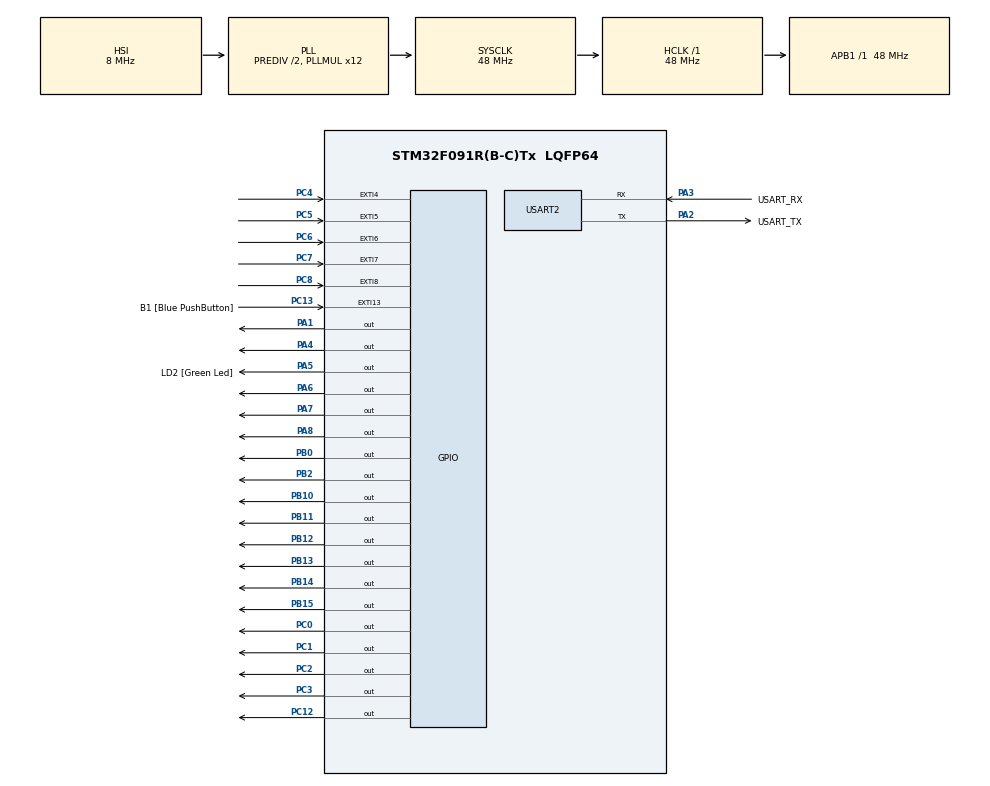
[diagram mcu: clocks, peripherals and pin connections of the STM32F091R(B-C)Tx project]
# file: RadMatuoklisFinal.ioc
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Mcu.Family=STM32F0
Mcu.Name=STM32F091R(B-C)Tx
Mcu.Package=LQFP64
NVIC.EXTI4_15_IRQn=true\:0\:0\:false\:false\:true\:true\:true\:true
NVIC.TIM14_IRQn=true\:0\:0\:false\:false\:true\:true\:true\:true
NVIC.TIM16_IRQn=true\:0\:0\:false\:false\:true\:true\:true\:true
NVIC.TIM17_IRQn=true\:0\:0\:false\:false\:true\:true\:true\:true
PA1.Signal=GPIO_Output
PA13.GPIO_Label=TMS
PA13.Mode=Serial_Wire
PA13.Signal=SYS_SWDIO
PA14.GPIO_Label=TCK
PA14.Mode=Serial_Wire
PA14.Signal=SYS_SWCLK
PA2.GPIO_Label=USART_TX
PA2.GPIO_Mode=GPIO_MODE_AF_PP
PA2.GPIO_PuPd=GPIO_NOPULL
PA2.GPIO_Speed=GPIO_SPEED_FREQ_LOW
PA2.Mode=Asynchronous
PA2.Signal=USART2_TX
PA3.GPIO_Label=USART_RX
PA3.GPIO_Mode=GPIO_MODE_AF_PP
PA3.GPIO_PuPd=GPIO_NOPULL
PA3.GPIO_Speed=GPIO_SPEED_FREQ_LOW
PA3.Mode=Asynchronous
PA3.Signal=USART2_RX
PA4.Signal=GPIO_Output
PA5.GPIO_Label=LD2 [Green Led]
PA5.GPIO_Mode=GPIO_MODE_OUTPUT_PP
PA5.GPIO_PuPd=GPIO_NOPULL
PA5.GPIO_Speed=GPIO_SPEED_FREQ_LOW
PA5.Signal=GPIO_Output
PA6.Signal=GPIO_Output
PA7.Signal=GPIO_Output
PA8.Signal=GPIO_Output
PB0.Signal=GPIO_Output
PB10.Signal=GPIO_Output
PB11.Signal=GPIO_Output
PB12.Signal=GPIO_Output
PB13.Signal=GPIO_Output
PB14.Signal=GPIO_Output
PB15.Signal=GPIO_Output
PB2.Signal=GPIO_Output
PC0.Signal=GPIO_Output
PC1.Signal=GPIO_Output
PC12.Signal=GPIO_Output
PC13.GPIO_Label=B1 [Blue PushButton]
PC13.GPIO_ModeDefaultEXTI=GPIO_MODE_IT_FALLING
PC13.Signal=GPXTI13
PC14OSC32_IN.Mode=LSE-External-Oscillator
PC14OSC32_IN.Signal=RCC_OSC32_IN
PC15OSC32_OUT.Mode=LSE-External-Oscillator
PC15OSC32_OUT.Signal=RCC_OSC32_OUT
PC2.Signal=GPIO_Output
PC3.Signal=GPIO_Output
PC4.GPIO_PuPd=GPIO_PULLDOWN
PC4.Signal=GPXTI4
PC5.GPIO_PuPd=GPIO_PULLDOWN
PC5.Signal=GPXTI5
PC6.GPIO_PuPd=GPIO_PULLDOWN
PC6.Signal=GPXTI6
PC7.GPIO_PuPd=GPIO_PULLDOWN
PC7.Signal=GPXTI7
PC8.GPIO_ModeDefaultEXTI=GPIO_MODE_IT_FALLING
PC8.GPIO_PuPd=GPIO_PULLUP
PC8.Signal=GPXTI8
PF0-OSC_IN.Mode=HSE-External-Clock-Source
PF0-OSC_IN.Signal=RCC_OSC_IN
PF1-OSC_OUT.Signal=RCC_OSC_OUT
ProjectManager.HeapSize=0x200
ProjectManager.StackSize=0x400
ProjectManager.TargetToolchain=STM32CubeIDE
RCC.AHBFreq_Value=48000000
RCC.APB1Freq_Value=48000000
RCC.APB1TimFreq_Value=48000000
RCC.FLatency-AdvancedSettings=FLASH_LATENCY_1
RCC.HCLKFreq_Value=48000000
RCC.PLLDivider=RCC_PREDIV_DIV2
RCC.PLLMUL=RCC_PLL_MUL12
RCC.PREFETCH_ENABLE-AdvancedSettings=1
RCC.SYSCLKFreq_VALUE=48000000
RCC.SYSCLKSource=RCC_SYSCLKSOURCE_PLLCLK
TIM14.Period=2000-1
TIM14.Prescaler=48000-1
TIM16.Period=1
TIM16.Prescaler=48000
TIM17.Period=10-1
TIM17.Prescaler=48000-1
USART2.VirtualMode=VM_ASYNC
USART2.VirtualMode-Asynchronous=VM_ASYNC
VP_TIM14_VS_ClockSourceINT.Mode=Enable_Timer
VP_TIM16_VS_ClockSourceINT.Mode=Enable_Timer
VP_TIM17_VS_ClockSourceINT.Mode=Enable_Timer
board=NUCLEO-F091RC

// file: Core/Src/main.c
/* USER CODE BEGIN Header */
/**
  ******************************************************************************
  * @file           : main.c
  * @brief          : Main program body
  ******************************************************************************
  * @attention
  *
  * Copyright (c) 2024 STMicroelectronics.
  * All rights reserved.
  *
  * This software is licensed under terms that can be found in the LICENSE file
  * in the root directory of this software component.
  * If no LICENSE file comes with this software, it is provided AS-IS.
  *
  ******************************************************************************
  */
/* USER CODE END Header */
#include "main.h"

/* USER CODE BEGIN Includes */
#include "Statechart_required.h"
#include "Statechart.h"

#include "math.h"

#include "stdio.h"
/* USER CODE END Includes */

/* USER CODE BEGIN PTD */

// All segments ar PBs

#define A 4
#define B 1024
#define C 2048
#define D 4096
#define E 8192
#define F 32768
#define G 16384
#define DP 1

// All digits are PAs

#define DIG0 2
#define DIG1 128
#define DIG2 256
#define DIG3 16
#define DIG4 32
#define DIG5 64

/* USER CODE END PTD */

TIM_HandleTypeDef htim14;
TIM_HandleTypeDef htim16;
TIM_HandleTypeDef htim17;

UART_HandleTypeDef huart2;

/* USER CODE BEGIN PV */

// 14-as timer'is tiksi kas 2 sekundes. Naudojamas periodiškam msV vidurkio atnaujinimui
// 16-as timer'is yra atsakingas už ekrano multipleksavimą
// 17-as timer'is yra atsakingas už klaviatūros multipleksavimą ir pa�?ios klaviatūros logiką

Statechart myStateChart;

//------------~~~~~~~~~~~~~~~~~-------------
// 				KLAVIATURA

char KeyPad_Symbols[4][4] = {
		{'1','2','3','A'},
		{'4','5','6','B'},
		{'7','8','9','C'},
		{'*','0','#','D'}
};

int CurrentRow = 0;
int PinWithInterruptNumber;

int ButtonWasPressed = 0;

char Numbers_Pressed[5] = {'\0','\0','\0','\0','\0'};
int Settings_Mode = 0;// kai bus 0 veiksime Fast/slow rezimuose
// 1 bus nustatomas msV, 2 bus nustatomas Threshold'as
int Number_Index = 0;
int Num_To_Show = 0; // cia setting'u rezime reikia kintamojo, kuris butu tuo momentu ivestas skaicius

char charPressed = '\0';

//------------~~~~~~~~~~~~~~~~~-------------
//				Ekranas

int PP_Sk = 0; //Praejusiu periodu skaicius
int Restart_PP_Sk = 6;

char Atvaizduojamas_Simbolis = 0;
int Atvaizduojami_Sk[5];
int kablelioVieta = 0; //Kabelio vieta gali būti prie 1-osios skilties (0.113), 2-osios, 3-iosios ir 4-osios
// Jei vaizduosime sveiką skaiciu, tai kablelio nedesime

int Numbers0_Text1 = 0; // kai turim Text rezima, ant ekrano yra piesiami tik 4 simboliai vietoje 5,
// nes tiek TSH, tiek COEF uzrasai uzima po 4 simbolius, ne 5

// Skaitiklio kintamieji

int Pulse_Count = 0;
double Pulse_Count_Average = 0;
double msV_Average = 0;
int Pulse_To_msV_Rate = 100000; // numatyta verte, kuria galima pakeisti
int msV_Threshold = 1;

int TIM_14_Periods_Passed = 0;
int Time_Passed = 0;

int FastMode_1_SlowMode_0 = 1;
int Pulse_Count_Array[5] = {0,0,0,0,0}; // Greitam rezimui
int Tick_Received = 0;

// Duomenu siuntimas per UART'a

char Message[7] = {' ',' ',' ',' ',' ','\n','\r'};

/* USER CODE END PV */

void SystemClock_Config(void);
static void MX_GPIO_Init(void);
static void MX_USART2_UART_Init(void);
static void MX_TIM16_Init(void);
static void MX_TIM17_Init(void);
static void MX_TIM14_Init(void);
/* USER CODE BEGIN PFP */

void IsvalytiIndikatoriu(void);
int SuformuotiSkaiciu(int sk);
void PavaizduotiSkaiciu(int sk, int skiltis, int taskas);
void ParodytiSkaiciu(double sk_double, char symbol);

/* USER CODE END PFP */

int main(void)
{

  /* MCU Configuration--------------------------------------------------------*/

  /* Reset of all peripherals, Initializes the Flash interface and the Systick. */
  HAL_Init();

  /* Configure the system clock */
  SystemClock_Config();

  /* Initialize all configured peripherals */
  MX_GPIO_Init();
  MX_USART2_UART_Init();
  MX_TIM16_Init();
  MX_TIM17_Init();
  MX_TIM14_Init();
  /* USER CODE BEGIN 2 */

  statechart_init(&myStateChart);
  HAL_TIM_Base_Start_IT(&htim17);
  statechart_enter(&myStateChart);

  /* USER CODE END 2 */

  /* Infinite loop */
  while (1)
  {

	/* USER CODE BEGIN 3 */
	  if(Tick_Received == 1 && Settings_Mode == 0){
		  if(FastMode_1_SlowMode_0 == 1){
				//Irasome nauja verte i masyva
				Pulse_Count_Array[(TIM_14_Periods_Passed-1) % 5] = Pulse_Count;
				// Per naujo skaiciuosime vidurki
				Pulse_Count_Average = 0;

				if(TIM_14_Periods_Passed < 5){

					for(int i=0;i<TIM_14_Periods_Passed;i++){
						Pulse_Count_Average+= Pulse_Count_Array[i];
					}

				}
				else{
					for(int i=0;i<5;i++){
						Pulse_Count_Average+= Pulse_Count_Array[i];
					}
				}
				Pulse_Count_Average = Pulse_Count_Average / ((double)Time_Passed/3600);
				Pulse_Count = 0;

			}
			if(FastMode_1_SlowMode_0 == 0){
				Pulse_Count_Average = (double)Pulse_Count/((double)Time_Passed/3600);
			}

			msV_Average = Pulse_Count_Average / Pulse_To_msV_Rate;

			if(msV_Average >= msV_Threshold){
				HAL_GPIO_WritePin(GPIOC, GPIO_PIN_12, GPIO_PIN_SET); // ijungiame buzzer'i
			}
			else{
				HAL_GPIO_WritePin(GPIOC, GPIO_PIN_12, GPIO_PIN_RESET); // isjungiame buzzer'i
			}

			Tick_Received = 0;

			//Atvaizduojame duomenis

			if(msV_Average < 1){
				ParodytiSkaiciu(msV_Average*1000, 'n'); // Pi zymi micosV
			}
			else{
				ParodytiSkaiciu(msV_Average, '~'); // ~ zymi milisV
			}

			//Siunciame duomenis
			for(int i = 0;i<7;i++){
				Message[i] = ' ';
			}
			snprintf(Message, 7, "%d\n\r", (int)(msV_Average*1000));
			for(int i = 0;i<7;i++){
				if(Message[i] == '\0'){
					Message[i] = ' ';
				}
			}
			HAL_UART_Transmit(&huart2, (uint8_t*) Message, 7, HAL_MAX_DELAY);

	  }
	}
	/* USER CODE END 3 */
}

void SystemClock_Config(void)
{
  RCC_OscInitTypeDef RCC_OscInitStruct = {0};
  RCC_ClkInitTypeDef RCC_ClkInitStruct = {0};
  RCC_PeriphCLKInitTypeDef PeriphClkInit = {0};

  /** Initializes the RCC Oscillators according to the specified parameters
  * in the RCC_OscInitTypeDef structure.
  */
  RCC_OscInitStruct.OscillatorType = RCC_OSCILLATORTYPE_HSI;
  RCC_OscInitStruct.HSIState = RCC_HSI_ON;
  RCC_OscInitStruct.HSICalibrationValue = RCC_HSICALIBRATION_DEFAULT;
  RCC_OscInitStruct.PLL.PLLState = RCC_PLL_ON;
  RCC_OscInitStruct.PLL.PLLSource = RCC_PLLSOURCE_HSI;
  RCC_OscInitStruct.PLL.PLLMUL = RCC_PLL_MUL12;
  RCC_OscInitStruct.PLL.PREDIV = RCC_PREDIV_DIV2;
  if (HAL_RCC_OscConfig(&RCC_OscInitStruct) != HAL_OK)
  {
    Error_Handler();
  }

  /** Initializes the CPU, AHB and APB buses clocks
  */
  RCC_ClkInitStruct.ClockType = RCC_CLOCKTYPE_HCLK|RCC_CLOCKTYPE_SYSCLK
                              |RCC_CLOCKTYPE_PCLK1;
  RCC_ClkInitStruct.SYSCLKSource = RCC_SYSCLKSOURCE_PLLCLK;
  RCC_ClkInitStruct.AHBCLKDivider = RCC_SYSCLK_DIV1;
  RCC_ClkInitStruct.APB1CLKDivider = RCC_HCLK_DIV1;

  if (HAL_RCC_ClockConfig(&RCC_ClkInitStruct, FLASH_LATENCY_1) != HAL_OK)
  {
    Error_Handler();
  }
  PeriphClkInit.PeriphClockSelection = RCC_PERIPHCLK_USART2;
  PeriphClkInit.Usart2ClockSelection = RCC_USART2CLKSOURCE_PCLK1;
  if (HAL_RCCEx_PeriphCLKConfig(&PeriphClkInit) != HAL_OK)
  {
    Error_Handler();
  }
}

static void MX_TIM14_Init(void)
{

  htim14.Instance = TIM14;
  htim14.Init.Prescaler = 48000-1;
  htim14.Init.CounterMode = TIM_COUNTERMODE_UP;
  htim14.Init.Period = 2000-1;
  htim14.Init.ClockDivision = TIM_CLOCKDIVISION_DIV1;
  htim14.Init.AutoReloadPreload = TIM_AUTORELOAD_PRELOAD_DISABLE;
  if (HAL_TIM_Base_Init(&htim14) != HAL_OK)
  {
    Error_Handler();
  }

}

static void MX_TIM16_Init(void)
{

  htim16.Instance = TIM16;
  htim16.Init.Prescaler = 48000;
  htim16.Init.CounterMode = TIM_COUNTERMODE_UP;
  htim16.Init.Period = 1;
  htim16.Init.ClockDivision = TIM_CLOCKDIVISION_DIV1;
  htim16.Init.RepetitionCounter = 0;
  htim16.Init.AutoReloadPreload = TIM_AUTORELOAD_PRELOAD_DISABLE;
  if (HAL_TIM_Base_Init(&htim16) != HAL_OK)
  {
    Error_Handler();
  }

}

static void MX_TIM17_Init(void)
{

  htim17.Instance = TIM17;
  htim17.Init.Prescaler = 48000-1;
  htim17.Init.CounterMode = TIM_COUNTERMODE_UP;
  htim17.Init.Period = 10-1;
  htim17.Init.ClockDivision = TIM_CLOCKDIVISION_DIV1;
  htim17.Init.RepetitionCounter = 0;
  htim17.Init.AutoReloadPreload = TIM_AUTORELOAD_PRELOAD_DISABLE;
  if (HAL_TIM_Base_Init(&htim17) != HAL_OK)
  {
    Error_Handler();
  }

}

static void MX_USART2_UART_Init(void)
{

  huart2.Instance = USART2;
  huart2.Init.BaudRate = 115200;
  huart2.Init.WordLength = UART_WORDLENGTH_8B;
  huart2.Init.StopBits = UART_STOPBITS_1;
  huart2.Init.Parity = UART_PARITY_NONE;
  huart2.Init.Mode = UART_MODE_TX_RX;
  huart2.Init.HwFlowCtl = UART_HWCONTROL_NONE;
  huart2.Init.OverSampling = UART_OVERSAMPLING_16;
  huart2.Init.OneBitSampling = UART_ONE_BIT_SAMPLE_DISABLE;
  huart2.AdvancedInit.AdvFeatureInit = UART_ADVFEATURE_NO_INIT;
  if (HAL_UART_Init(&huart2) != HAL_OK)
  {
    Error_Handler();
  }

}

static void MX_GPIO_Init(void)
{
  GPIO_InitTypeDef GPIO_InitStruct = {0};

  /* GPIO Ports Clock Enable */
  __HAL_RCC_GPIOC_CLK_ENABLE();
  __HAL_RCC_GPIOF_CLK_ENABLE();
  __HAL_RCC_GPIOA_CLK_ENABLE();
  __HAL_RCC_GPIOB_CLK_ENABLE();

  /*Configure GPIO pin Output Level */
  HAL_GPIO_WritePin(GPIOC, GPIO_PIN_0|GPIO_PIN_1|GPIO_PIN_2|GPIO_PIN_3
                          |GPIO_PIN_12, GPIO_PIN_RESET);

  /*Configure GPIO pin Output Level */
  HAL_GPIO_WritePin(GPIOA, GPIO_PIN_1|GPIO_PIN_4|LD2_Pin|GPIO_PIN_6
                          |GPIO_PIN_7|GPIO_PIN_8, GPIO_PIN_RESET);

  /*Configure GPIO pin Output Level */
  HAL_GPIO_WritePin(GPIOB, GPIO_PIN_0|GPIO_PIN_2|GPIO_PIN_10|GPIO_PIN_11
                          |GPIO_PIN_12|GPIO_PIN_13|GPIO_PIN_14|GPIO_PIN_15, GPIO_PIN_RESET);

  /*Configure GPIO pin : B1_Pin */
  GPIO_InitStruct.Pin = B1_Pin;
  GPIO_InitStruct.Mode = GPIO_MODE_IT_FALLING;
  GPIO_InitStruct.Pull = GPIO_NOPULL;
  HAL_GPIO_Init(B1_GPIO_Port, &GPIO_InitStruct);

  /*Configure GPIO pins : PC0 PC1 PC2 PC3
                           PC12 */
  GPIO_InitStruct.Pin = GPIO_PIN_0|GPIO_PIN_1|GPIO_PIN_2|GPIO_PIN_3
                          |GPIO_PIN_12;
  GPIO_InitStruct.Mode = GPIO_MODE_OUTPUT_PP;
  GPIO_InitStruct.Pull = GPIO_NOPULL;
  GPIO_InitStruct.Speed = GPIO_SPEED_FREQ_LOW;
  HAL_GPIO_Init(GPIOC, &GPIO_InitStruct);

  /*Configure GPIO pins : PA1 PA4 LD2_Pin PA6
                           PA7 PA8 */
  GPIO_InitStruct.Pin = GPIO_PIN_1|GPIO_PIN_4|LD2_Pin|GPIO_PIN_6
                          |GPIO_PIN_7|GPIO_PIN_8;
  GPIO_InitStruct.Mode = GPIO_MODE_OUTPUT_PP;
  GPIO_InitStruct.Pull = GPIO_NOPULL;
  GPIO_InitStruct.Speed = GPIO_SPEED_FREQ_LOW;
  HAL_GPIO_Init(GPIOA, &GPIO_InitStruct);

  /*Configure GPIO pins : PC4 PC5 PC6 PC7 */
  GPIO_InitStruct.Pin = GPIO_PIN_4|GPIO_PIN_5|GPIO_PIN_6|GPIO_PIN_7;
  GPIO_InitStruct.Mode = GPIO_MODE_IT_RISING;
  GPIO_InitStruct.Pull = GPIO_PULLDOWN;
  HAL_GPIO_Init(GPIOC, &GPIO_InitStruct);

  /*Configure GPIO pins : PB0 PB2 PB10 PB11
                           PB12 PB13 PB14 PB15 */
  GPIO_InitStruct.Pin = GPIO_PIN_0|GPIO_PIN_2|GPIO_PIN_10|GPIO_PIN_11
                          |GPIO_PIN_12|GPIO_PIN_13|GPIO_PIN_14|GPIO_PIN_15;
  GPIO_InitStruct.Mode = GPIO_MODE_OUTPUT_PP;
  GPIO_InitStruct.Pull = GPIO_NOPULL;
  GPIO_InitStruct.Speed = GPIO_SPEED_FREQ_LOW;
  HAL_GPIO_Init(GPIOB, &GPIO_InitStruct);

  /*Configure GPIO pin : PC8 */
  GPIO_InitStruct.Pin = GPIO_PIN_8;
  GPIO_InitStruct.Mode = GPIO_MODE_IT_FALLING;
  GPIO_InitStruct.Pull = GPIO_PULLUP;
  HAL_GPIO_Init(GPIOC, &GPIO_InitStruct);

  /* EXTI interrupt init*/
  HAL_NVIC_SetPriority(EXTI4_15_IRQn, 0, 0);
  HAL_NVIC_EnableIRQ(EXTI4_15_IRQn);

}

/* USER CODE BEGIN 4 */
//--------------------------------------------------------
//					STATECHART'o funkcijos
//--------------------------------------------------------

void statechart_takeFastMeasurement( Statechart* handle){
	FastMode_1_SlowMode_0 = 1;
	Pulse_Count_Average = 0;
	Time_Passed = 0;
	TIM_14_Periods_Passed = 0;
	HAL_TIM_Base_Start_IT(&htim14);

}

void statechart_takeSlowMeasurement( Statechart* handle){
	FastMode_1_SlowMode_0 = 0;
	Pulse_Count_Average = 0;
	Time_Passed = 0;
	TIM_14_Periods_Passed = 0;
	HAL_TIM_Base_Start_IT(&htim14);

}
void statechart_changemsVRate( Statechart* handle){
	Settings_Mode = 1;
	Numbers0_Text1 = 1;
	// Sukonfiguruojame Atvaizduojami_Sk masyva, kad turetume uzrasa COEF
	Atvaizduojami_Sk[0] = 17;
	Atvaizduojami_Sk[1] = 0;
	Atvaizduojami_Sk[2] = 18;
	Atvaizduojami_Sk[3] = 19;

	//COEF 17, 0, 18,19
	//TSH 13,14,15,16
}
void statechart_changeThreshold( Statechart* handle){
	Settings_Mode = 2;
	Numbers0_Text1 = 1;
	// Sukonfiguruojame Atvaizduojami_Sk masyva, kad turetume uzrasa TSH
	Atvaizduojami_Sk[0] = 13;
	Atvaizduojami_Sk[1] = 14;
	Atvaizduojami_Sk[2] = 15;
	Atvaizduojami_Sk[3] = 16;
}

//--------------------------------------------------------
//					VFD valdymas
//--------------------------------------------------------

void IsvalytiIndikatoriu(void){

	// Valydami indikatorių visus PIN'us drive'insime HIGH (atidarys tranzus)

	HAL_GPIO_WritePin(GPIOB, 1, GPIO_PIN_SET);
	HAL_GPIO_WritePin(GPIOB, 4, GPIO_PIN_SET);
	for(int i=pow(2,10);i<32769;i=i*2){
		HAL_GPIO_WritePin(GPIOB, i, GPIO_PIN_SET);
	}

	for(int i=2;i<257;i=i*2){
		HAL_GPIO_WritePin(GPIOA, i, GPIO_PIN_SET);
	}

}

int SuformuotiSkaiciu(int sk){

	//Apsirašysime kokius PB pin'us (segmentus) turime išjungti, kad gautume norimą skai�?ių, simbolį
	//TSH ir COEF
	int Atvaizdu_Lentele[20]={G,      		// 0
						  A|D|E|F|G,  		// 1
						  C|F,				// 2
						  E|F,				// 3
						  A|D|E,			// 4
						  B|E,				// 5
						  B,				// 6
						  D|E|F|G,			// 7
						  0,				// 8
						  E,				// 9
						  A|B|C|D|E|G,		// 10 Pi simbolis
						  A|B|C|D|E|F,		// 11 Brukšnys
						  A|B|C|D|E|F|G,	// 12 Bangelė
	  	  	  	  	  	  D|E|F|G,			// 13 T raidės kairysis brūkšnys ir "|"
						  B|C|D|E|F|G,		// 14 T dešinysis brūkšnys
						  B|E,        		// 15 S raidė
						  A|D,				// 16 H raidė
						  B|C|G,			// 17 C raidė
						  B|C,				// 18 E raidė
						  B|C|D};			// 19 F raidė
	return Atvaizdu_Lentele[sk];
}

void PavaizduotiSkaiciu(int sk, int skiltis, int taskas){

	//taskas = 1 –> yra taskas; taskas = bet kas kita –>nera tasko

	IsvalytiIndikatoriu();
	int Skiltys[6] = {DIG0,DIG1,DIG2,DIG3,DIG4,DIG5};

	int Segmentu_Kodas_PB = SuformuotiSkaiciu(sk);
	int Skilties_Kodas_PA = (DIG0|DIG1|DIG2|DIG3|DIG4|DIG5);
	Skilties_Kodas_PA -= Skiltys[skiltis];

	if (taskas != 1){
		Segmentu_Kodas_PB = Segmentu_Kodas_PB | DP;
	}

	GPIOB->ODR = Segmentu_Kodas_PB;
	GPIOA->ODR = Skilties_Kodas_PA;
}

void ParodytiSkaiciu(double sk_double, char symbol){

	//kablelioVieta = 1 reiškia, kad kablelis dedamas prie kairiausiojo skai�?iaus
	kablelioVieta = 0;
	Atvaizduojamas_Simbolis = symbol;
	//Išsiskaidome skai�?ių

	int sk = (int)(sk_double*10000);

	int desimtysTukstanciu = sk / 100000000;
	int tukstanciai = (sk % 100000000) / 10000000;
	int simtai = (sk % 10000000) / 1000000;
	int desimtys = (sk % 1000000) / 100000;
	int vienetai = (sk % 100000) / 10000;
	int desimtosios = (sk % 10000) / 1000;
	int simtosios = (sk % 1000) / 100;
	int tukstantosios = (sk % 100) / 10;
	int desimtaTukstantosios = (sk % 10) / 1;

	// Sumetame šį išskaidytą skai�?ių į masyvą, kad lengviau galėtume pasiekti norimus skai�?ius for kilpoje

	int skaitmenys[9] = {desimtysTukstanciu, tukstanciai, simtai, desimtys, vienetai, desimtosios, simtosios, tukstantosios, desimtaTukstantosios};

	int Atvaizduojamo_Sk_Indeksas = 0;

	for(int i = 0;i<9;i++){
		if(skaitmenys[i] != 0 && kablelioVieta == 0){
			//Radome pirma nenulini skaiciu
			if(i<4){
				kablelioVieta = 5-(i);
			}
		}
		if(kablelioVieta == 0 && i == 4){
			kablelioVieta = 1;
		}
		if(kablelioVieta !=0){
			Atvaizduojami_Sk[Atvaizduojamo_Sk_Indeksas] = skaitmenys[i];
			Atvaizduojamo_Sk_Indeksas++;
		}
		if(Atvaizduojamo_Sk_Indeksas>4){
			break;
		}
	}
    //Think about it for a second ok? šitas aukš�?iau parašytas alogritmas veikia taip:

    //1) Mes ieškome kur yra pirmasis nenulinis skai�?ius einant per masyvą iš kairės į dešinę.

    //2) Jei mes turime ne 0 tūkstan�?ių, tai mes norėsime parašyti visus 4 skai�?ius iki pat vienetų ir kablelio
    //   kaip ir neprireiks. Ta�?iau jei nerasime tukstan�?ių, bet rasime šimtus, norėsime parašyti vieną skai�?ių
    //   po kablelio. Šia logika judame taip toliau iki kol pamatome, kad neturime nei vieno sveiko skai�?iaus

    //3) Tai pamatę turime suprasti, kad reikės atvaizduoti skai�?ių 0.xyz. Vadinasi kablelio vieta turi būti
    //   prie pirmosios skilties

	// Reikėtų atkreipti dėmesį, jog yra trunc() versijos skai�?ius, ne round(), nes mes nieko neapvaliname

	// Pradedame 16-ą Timer'į
	MX_TIM16_Init();
	HAL_TIM_Base_Start_IT(&htim16);

}

//--------------------------------------------------------
//					Klaviatūros valdymas
//--------------------------------------------------------

void HAL_GPIO_EXTI_Callback(uint16_t GPIO_Pin) {

	if (GPIO_Pin == 256) { // PC8 skaitiklio isejimas
		Pulse_Count++;
	}

	if(ButtonWasPressed != 1){

		Numbers0_Text1 = 0;

		if (GPIO_Pin == 16) { // PC4 0 Column
			charPressed = KeyPad_Symbols[CurrentRow][0];
			PinWithInterruptNumber = 16;
		}
		if (GPIO_Pin == 32) { // PC5 1 Column
			charPressed = KeyPad_Symbols[CurrentRow][1];
			PinWithInterruptNumber = 32;
		}
		if (GPIO_Pin == 64) { // PC6 2 Column
			charPressed = KeyPad_Symbols[CurrentRow][2];
			PinWithInterruptNumber = 64;
		}
		if (GPIO_Pin == 128) { // PC7 3 Column
			charPressed = KeyPad_Symbols[CurrentRow][3];
			PinWithInterruptNumber = 128;
		}

		ButtonWasPressed = 1;

		switch(charPressed){
			case 'A':
				statechart_raise_beFast(&myStateChart);
				break;

			case 'B':
				statechart_raise_beSlow(&myStateChart);
				break;

			case 'C':
				statechart_raise_setmsVRate(&myStateChart);
				break;

			case 'D':
				statechart_raise_setThreshold(&myStateChart);
				break;
		}

		if(Settings_Mode >= 1 && charPressed <= 57 && charPressed >= 48){ // 48 – 0, o 57 – 9
			Numbers_Pressed[Number_Index] = charPressed;
			charPressed = '\0';
			Number_Index++;

			//Suformuojame skaiciu, kuri atvaizduosime
			Num_To_Show = 0;

			for(int i = 0;i<5;i++){
				if(Numbers_Pressed[i]<= 57 && Numbers_Pressed[i] >= 48){
					Num_To_Show = Num_To_Show*10 + (Numbers_Pressed[i]-48);
				}
			}
			ParodytiSkaiciu(Num_To_Show, 0); // 0 neturetu rodyti nei vieno simbolio
			if(Number_Index >= 5){
				for(int i = 0;i<5;i++){
					Numbers_Pressed[i] = '\0';
				}
				if(Settings_Mode == 1){
					Pulse_To_msV_Rate = Num_To_Show;
				}
				if(Settings_Mode == 2){
					 msV_Threshold = Num_To_Show;
				}
				Number_Index = 0;
				Settings_Mode = 0;
				statechart_raise_beFast(&myStateChart);
			}
		}
		if(Settings_Mode >=1 && charPressed =='#'){
			if(Settings_Mode == 1){
				Pulse_To_msV_Rate = Num_To_Show*1000;
			}
			if(Settings_Mode == 2){
				 msV_Threshold = Num_To_Show;
			}
			for(int i = 0;i<5;i++){
				Numbers_Pressed[i] = '\0';
			}
			Number_Index = 0;
			Settings_Mode = 0;
			statechart_raise_beFast(&myStateChart);
		}
	}
}

//--------------------------------------------------------
//					Timer'iai
//--------------------------------------------------------

void HAL_TIM_PeriodElapsedCallback(TIM_HandleTypeDef *htim){

	if(htim == &htim14){
		TIM_14_Periods_Passed++;
		// Atnaujiname praejusi laika
		Time_Passed = TIM_14_Periods_Passed*2; // sekundemis
		Tick_Received = 1;
	}

	// Ekrano multipleksavimo timer'is
	if(htim == &htim16){
		if(PP_Sk == 1){
			//atvaizduojame pasirinktą simbolį
			if(Atvaizduojamas_Simbolis =='n'){
				PavaizduotiSkaiciu(10, 0, 0);
			}
			if(Atvaizduojamas_Simbolis =='-'){
				PavaizduotiSkaiciu(11, 0, 0);
			}
			if(Atvaizduojamas_Simbolis =='~'){
				PavaizduotiSkaiciu(12, 0, 1);
			}
		}
		else{
			if(PP_Sk > 0){
				if(kablelioVieta == PP_Sk-1){
					PavaizduotiSkaiciu(Atvaizduojami_Sk[PP_Sk-2], PP_Sk-1, 1);
				}
				else{
					PavaizduotiSkaiciu(Atvaizduojami_Sk[PP_Sk-2], PP_Sk-1, 0);
				}
			}
		}
		if((PP_Sk == Restart_PP_Sk && Numbers0_Text1 == 0)||(PP_Sk == Restart_PP_Sk-1 && Numbers0_Text1 == 1)){
			PP_Sk = 0;
		}
		else{
			PP_Sk++;
		}
	}

	if(htim == &htim17){
			if(ButtonWasPressed != 1){
				CurrentRow = (CurrentRow + 1) % 4;
				switch(CurrentRow){
				case 0:
					HAL_GPIO_WritePin(GPIOC, 8, GPIO_PIN_RESET);
					HAL_GPIO_WritePin(GPIOC, 1, GPIO_PIN_SET);
					break;
				case 1:
					HAL_GPIO_WritePin(GPIOC, 1, GPIO_PIN_RESET);
					HAL_GPIO_WritePin(GPIOC, 2, GPIO_PIN_SET);
					break;
				case 2:
					HAL_GPIO_WritePin(GPIOC, 2, GPIO_PIN_RESET);
					HAL_GPIO_WritePin(GPIOC, 4, GPIO_PIN_SET);
					break;
				case 3:
					HAL_GPIO_WritePin(GPIOC, 4, GPIO_PIN_RESET);
					HAL_GPIO_WritePin(GPIOC, 8, GPIO_PIN_SET);
					break;
				}
			}
			else{
				if(HAL_GPIO_ReadPin(GPIOC, PinWithInterruptNumber) == 0){
					ButtonWasPressed = 0;
				}
			}
		}

}

/* USER CODE END 4 */

void Error_Handler(void)
{
  __disable_irq();
  while (1)
  {
  }
}
